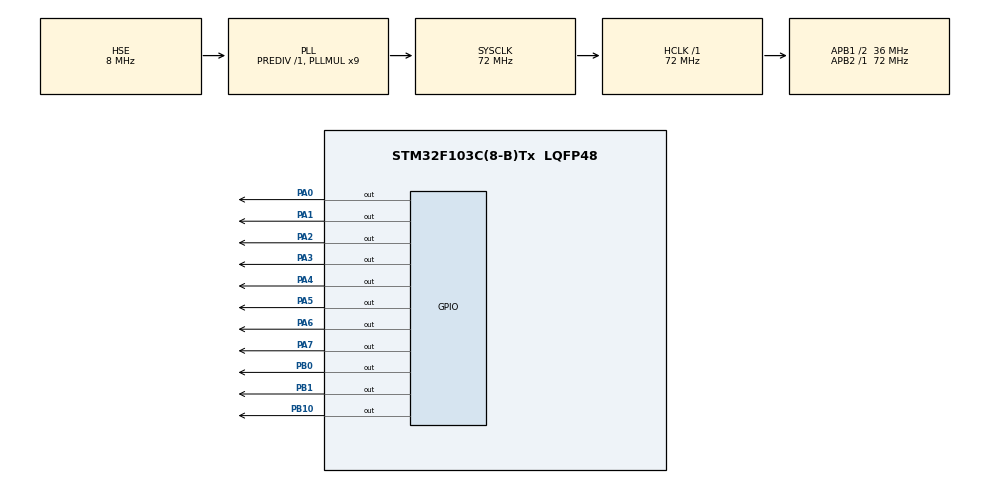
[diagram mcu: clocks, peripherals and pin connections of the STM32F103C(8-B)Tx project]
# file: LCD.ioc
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Mcu.Family=STM32F1
Mcu.Name=STM32F103C(8-B)Tx
Mcu.Package=LQFP48
NVIC.PriorityGroup=NVIC_PRIORITYGROUP_4
PA0-WKUP.Signal=GPIO_Output
PA1.Signal=GPIO_Output
PA13.Mode=Serial_Wire
PA13.Signal=SYS_JTMS-SWDIO
PA14.Mode=Serial_Wire
PA14.Signal=SYS_JTCK-SWCLK
PA2.Signal=GPIO_Output
PA3.Signal=GPIO_Output
PA4.Signal=GPIO_Output
PA5.Signal=GPIO_Output
PA6.Signal=GPIO_Output
PA7.Signal=GPIO_Output
PB0.Signal=GPIO_Output
PB1.Signal=GPIO_Output
PB10.Signal=GPIO_Output
PD0-OSC_IN.Mode=HSE-External-Oscillator
PD0-OSC_IN.Signal=RCC_OSC_IN
PD1-OSC_OUT.Mode=HSE-External-Oscillator
PD1-OSC_OUT.Signal=RCC_OSC_OUT
ProjectManager.HeapSize=0x200
ProjectManager.StackSize=0x400
ProjectManager.TargetToolchain=MDK-ARM V5.32
RCC.AHBFreq_Value=72000000
RCC.APB1CLKDivider=RCC_HCLK_DIV2
RCC.APB1Freq_Value=36000000
RCC.APB1TimFreq_Value=72000000
RCC.APB2Freq_Value=72000000
RCC.APB2TimFreq_Value=72000000
RCC.HCLKFreq_Value=72000000
RCC.PLLMUL=RCC_PLL_MUL9
RCC.PLLSourceVirtual=RCC_PLLSOURCE_HSE
RCC.SYSCLKFreq_VALUE=72000000
RCC.SYSCLKSource=RCC_SYSCLKSOURCE_PLLCLK
RCC.USBFreq_Value=72000000
board=custom

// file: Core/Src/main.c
/* USER CODE BEGIN Header */
/**
  ******************************************************************************
  * @file           : main.c
  * @brief          : Main program body
  ******************************************************************************
  * @attention
  *
  * Copyright (c) 2026 STMicroelectronics.
  * All rights reserved.
  *
  * This software is licensed under terms that can be found in the LICENSE file
  * in the root directory of this software component.
  * If no LICENSE file comes with this software, it is provided AS-IS.
  *
  ******************************************************************************
  */
/* USER CODE END Header */
#include "main.h"

/* USER CODE BEGIN Includes */
#include "LCD.h"
/* USER CODE END Includes */

void SystemClock_Config(void);
static void MX_GPIO_Init(void);

int main(void)
{

  /* USER CODE BEGIN 1 */

	mLCD.PORT_DATA = GPIOA;
	mLCD.PORT_R = GPIOB;
	mLCD.D0 = GPIO_PIN_0;
	mLCD.D1 = GPIO_PIN_1;
	mLCD.D2 = GPIO_PIN_2;
	mLCD.D3 = GPIO_PIN_3;
	mLCD.D4 = GPIO_PIN_4;
	mLCD.D5 = GPIO_PIN_5;
	mLCD.D6 = GPIO_PIN_6;
	mLCD.D7 = GPIO_PIN_7;
	mLCD.RS = GPIO_PIN_0;
	mLCD.RW = GPIO_PIN_1;
	mLCD.EN = GPIO_PIN_10;

  /* USER CODE END 1 */

  /* MCU Configuration--------------------------------------------------------*/

  /* Reset of all peripherals, Initializes the Flash interface and the Systick. */
  HAL_Init();

  /* Configure the system clock */
  SystemClock_Config();

  /* Initialize all configured peripherals */
  MX_GPIO_Init();
  /* USER CODE BEGIN 2 */

	LCD_Init();
	LCD_Print("Pham Hiep");
  /* USER CODE END 2 */

  /* Infinite loop */
  while (1)
  {

  }
}

void SystemClock_Config(void)
{
  RCC_OscInitTypeDef RCC_OscInitStruct = {0};
  RCC_ClkInitTypeDef RCC_ClkInitStruct = {0};

  /** Initializes the RCC Oscillators according to the specified parameters
  * in the RCC_OscInitTypeDef structure.
  */
  RCC_OscInitStruct.OscillatorType = RCC_OSCILLATORTYPE_HSE;
  RCC_OscInitStruct.HSEState = RCC_HSE_ON;
  RCC_OscInitStruct.HSEPredivValue = RCC_HSE_PREDIV_DIV1;
  RCC_OscInitStruct.HSIState = RCC_HSI_ON;
  RCC_OscInitStruct.PLL.PLLState = RCC_PLL_ON;
  RCC_OscInitStruct.PLL.PLLSource = RCC_PLLSOURCE_HSE;
  RCC_OscInitStruct.PLL.PLLMUL = RCC_PLL_MUL9;
  if (HAL_RCC_OscConfig(&RCC_OscInitStruct) != HAL_OK)
  {
    Error_Handler();
  }

  /** Initializes the CPU, AHB and APB buses clocks
  */
  RCC_ClkInitStruct.ClockType = RCC_CLOCKTYPE_HCLK|RCC_CLOCKTYPE_SYSCLK
                              |RCC_CLOCKTYPE_PCLK1|RCC_CLOCKTYPE_PCLK2;
  RCC_ClkInitStruct.SYSCLKSource = RCC_SYSCLKSOURCE_PLLCLK;
  RCC_ClkInitStruct.AHBCLKDivider = RCC_SYSCLK_DIV1;
  RCC_ClkInitStruct.APB1CLKDivider = RCC_HCLK_DIV2;
  RCC_ClkInitStruct.APB2CLKDivider = RCC_HCLK_DIV1;

  if (HAL_RCC_ClockConfig(&RCC_ClkInitStruct, FLASH_LATENCY_2) != HAL_OK)
  {
    Error_Handler();
  }
}

static void MX_GPIO_Init(void)
{
  GPIO_InitTypeDef GPIO_InitStruct = {0};

  /* GPIO Ports Clock Enable */
  __HAL_RCC_GPIOD_CLK_ENABLE();
  __HAL_RCC_GPIOA_CLK_ENABLE();
  __HAL_RCC_GPIOB_CLK_ENABLE();

  /*Configure GPIO pin Output Level */
  HAL_GPIO_WritePin(GPIOA, GPIO_PIN_0|GPIO_PIN_1|GPIO_PIN_2|GPIO_PIN_3
                          |GPIO_PIN_4|GPIO_PIN_5|GPIO_PIN_6|GPIO_PIN_7, GPIO_PIN_RESET);

  /*Configure GPIO pin Output Level */
  HAL_GPIO_WritePin(GPIOB, GPIO_PIN_0|GPIO_PIN_1|GPIO_PIN_10, GPIO_PIN_RESET);

  /*Configure GPIO pins : PA0 PA1 PA2 PA3
                           PA4 PA5 PA6 PA7 */
  GPIO_InitStruct.Pin = GPIO_PIN_0|GPIO_PIN_1|GPIO_PIN_2|GPIO_PIN_3
                          |GPIO_PIN_4|GPIO_PIN_5|GPIO_PIN_6|GPIO_PIN_7;
  GPIO_InitStruct.Mode = GPIO_MODE_OUTPUT_PP;
  GPIO_InitStruct.Pull = GPIO_NOPULL;
  GPIO_InitStruct.Speed = GPIO_SPEED_FREQ_LOW;
  HAL_GPIO_Init(GPIOA, &GPIO_InitStruct);

  /*Configure GPIO pins : PB0 PB1 PB10 */
  GPIO_InitStruct.Pin = GPIO_PIN_0|GPIO_PIN_1|GPIO_PIN_10;
  GPIO_InitStruct.Mode = GPIO_MODE_OUTPUT_PP;
  GPIO_InitStruct.Pull = GPIO_NOPULL;
  GPIO_InitStruct.Speed = GPIO_SPEED_FREQ_LOW;
  HAL_GPIO_Init(GPIOB, &GPIO_InitStruct);

}

void Error_Handler(void)
{
  __disable_irq();
  while (1)
  {
  }
}
